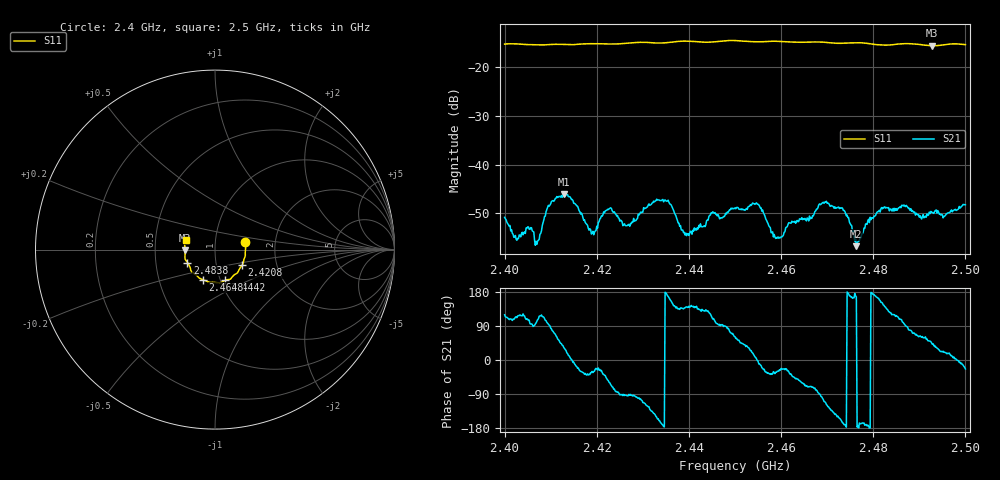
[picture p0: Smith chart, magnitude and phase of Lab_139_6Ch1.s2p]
# Hz S RI R 50
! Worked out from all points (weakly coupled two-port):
!   601 points, 2.4 GHz to 2.5 GHz, reference 50 ohm
!   highest |S21| = -46.10 dB at 2.4128 GHz (marker M1); lowest = -56.7 dB at 2.4763 GHz (marker M2)
!   lowest |S11| = -15.6 dB at 2.4928 GHz (marker M3), VSWR 1.40, Z = 35.8 - j0.35 ohm
!   |S11| at or under -10 dB: start of sweep to end of sweep
!   S12 and S22 are empty: the file has one direction only
!   S11 on the Smith chart (normalised r, x): 2.4 GHz: 1.40, +0.12; 2.4208 GHz: 1.33, -0.24; 2.4442 GHz: 1.05, -0.37; 2.4648 GHz: 0.83, -0.29; 2.4838 GHz: 0.73, -0.11; 2.5 GHz: 0.72, +0.08
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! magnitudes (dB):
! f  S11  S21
! 2.4 GHz  -15.3  -50.8
! 2.407 GHz  -15.4  -56.4
! 2.4097 GHz  -15.4  -48.5
! 2.4128 GHz  -15.3  -46.1
! 2.4167 GHz  -15.2  -49.9
! 2.4192 GHz  -15.2  -53.7
! 2.4208 GHz  -15.2  -51.0
! 2.4267 GHz  -15.1  -52.5
! 2.4333 GHz  -15.0  -47.3
! 2.4395 GHz  -14.6  -54.6
! 2.4442 GHz  -14.9  -51.4
! 2.45 GHz  -14.5  -48.9
! 2.455 GHz  -14.8  -48.1
! 2.4592 GHz  -14.7  -55.1
! 2.4648 GHz  -14.9  -51.1
! 2.4667 GHz  -14.8  -51.1
! 2.473 GHz  -15.1  -49.0
! 2.4763 GHz  -15.0  -56.7
! 2.4833 GHz  -15.4  -48.8
! 2.4838 GHz  -15.4  -49.1
! 2.4928 GHz  -15.6  -49.9
! 2.5 GHz  -15.4  -48.2
